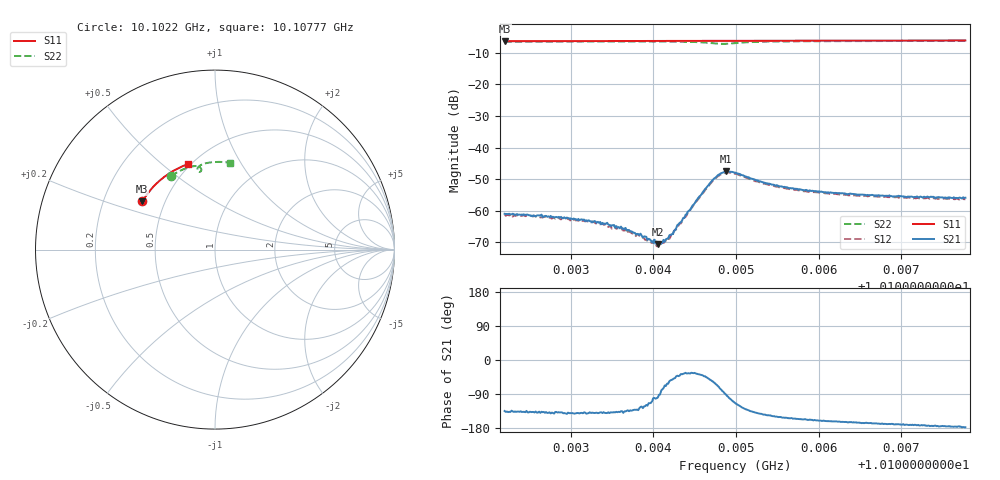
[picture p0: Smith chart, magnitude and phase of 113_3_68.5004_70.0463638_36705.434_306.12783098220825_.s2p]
#  HZ  S  RI  R  50.00
! Rohde & Schwarz Vector Network Analyzer
! Rohde-Schwarz,ZNB20-2Port,1311601062101988,3.16
! Created: UTC 3/20/2024, 5:08:48 PM
! freq[Hz]  re:S11  im:S11  re:S21  im:S21  re:S12  im:S12  re:S22  im:S22
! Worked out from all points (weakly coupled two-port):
!   401 points, 10.1022 GHz to 10.10777 GHz, reference 50 ohm
!   highest |S21| = -47.59 dB at 10.10487 GHz (marker M1); lowest = -70.7 dB at 10.10405 GHz (marker M2)
!   lowest |S11| = -6.3 dB at 10.1022 GHz (marker M3), VSWR 2.89, Z = 18.7 + j13.1 ohm
!   |S11| at or under -10 dB: nowhere
!   |S22| runs from -7.1 to -6.2 dB; largest |S21 - S12| = 0.00043
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1.0102198e10  -0.4046 0.2684  -0.000623 -0.000632  -0.000555 -0.000665  -0.2452 0.4102
1.0102617e10  -0.391 0.2898  -0.000604 -0.000577  -0.000551 -0.00057  -0.2217 0.4245
1.0103132e10  -0.3728 0.3154  -0.000551 -0.000469  -0.000487 -0.000486  -0.1918 0.4404
1.0103411e10  -0.3622 0.3286  -0.000472 -0.000402  -0.000423 -0.000426  -0.1745 0.448
1.0103481e10  -0.3596 0.3318  -0.000432 -0.000388  -0.000401 -0.000411  -0.1701 0.45
1.0103634e10  -0.3534 0.339  -0.000393 -0.000336  -0.000315 -0.000362  -0.1602 0.4539
1.0103829e10  -0.3456 0.3478  -0.000249 -0.00033  -0.000202 -0.000341  -0.147 0.4583
1.0103955e10  -0.3406 0.3534  -0.000142 -0.000319  -9.77e-05 -0.000292  -0.1381 0.4609
1.0104052e10  -0.3363 0.3576  -4.55e-05 -0.000287  -5.29e-06 -0.000292  -0.1309 0.4626
1.0104066e10  -0.3358 0.3582  -9.14e-06 -0.000296  5.77e-05 -0.000285  -0.1298 0.4629
1.0104122e10  -0.3336 0.3607  9.43e-05 -0.000331  9.85e-05 -0.000288  -0.1256 0.4637
1.0104178e10  -0.3311 0.363  0.000167 -0.000319  0.000178 -0.000317  -0.1212 0.4645
1.0104248e10  -0.3279 0.366  0.000314 -0.000356  0.000359 -0.00031  -0.1154 0.4651
1.0104526e10  -0.3155 0.3777  0.0012 -0.000882  0.00123 -0.000718  -0.0895 0.4621
1.0104708e10  -0.3074 0.3849  0.00168 -0.00244  0.00185 -0.00217  -0.076 0.4464
1.0104791e10  -0.3034 0.3879  0.00119 -0.00352  0.0014 -0.00328  -0.0791 0.4362
1.0104875e10  -0.2997 0.3913  -5.29e-05 -0.00417  0.000306 -0.00397  -0.0891 0.4331
1.0104986e10  -0.2947 0.3956  -0.00158 -0.00367  -0.0012 -0.00363  -0.0982 0.4428
1.0105446e10  -0.2727 0.4126  -0.00219 -0.00135  -0.00199 -0.0015  -0.0709 0.4751
1.010592e10  -0.249 0.4287  -0.00191 -0.000771  -0.00177 -0.000868  -0.0368 0.4841
1.0106854e10  -0.1994 0.456  -0.0017 -0.000338  -0.00157 -0.000471  0.0262 0.4886
1.0107774e10  -0.148 0.4774  -0.00159 -7.17e-05  -0.0015 -0.000208  0.0856 0.4842
